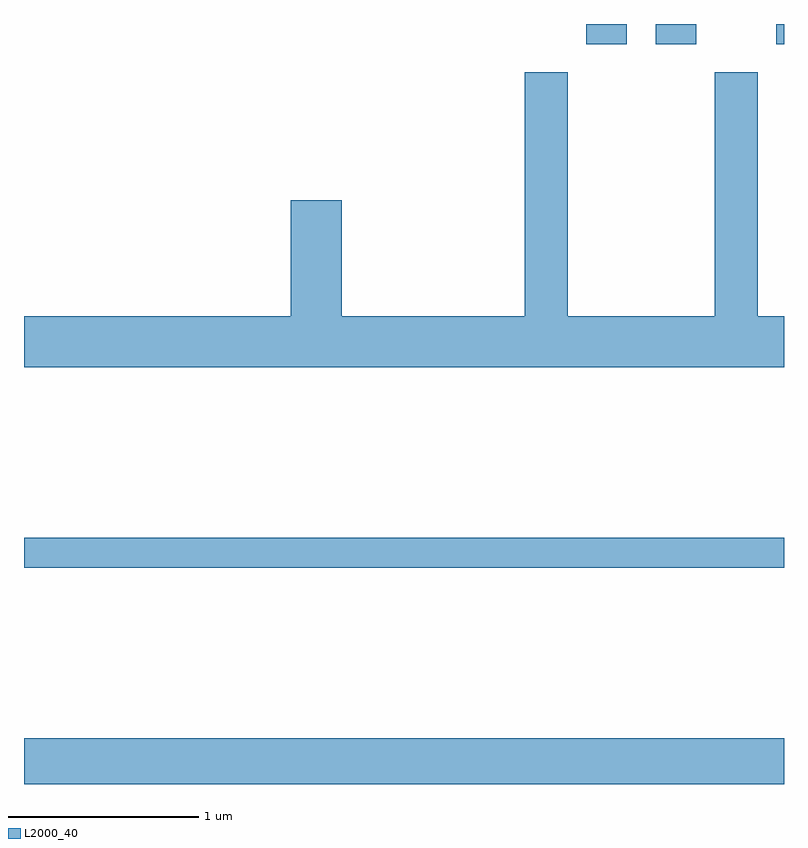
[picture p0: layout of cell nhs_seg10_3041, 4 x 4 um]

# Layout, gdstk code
import gdstk
lib = gdstk.Library(unit=1e-6, precision=1e-09)
def R(c, l, rs):  # rectangles x0, y0, x1, y1
    for r in rs: c.add(gdstk.rectangle(r[:2], r[2:], *l))
def P(c, l, *ps):  # polygons
    for p in ps: c.add(gdstk.Polygon(p, *l))
L2000_40 = (2000, 40)

nhs_seg10_3041 = lib.new_cell('nhs_seg10_3041')
R(nhs_seg10_3041, L2000_40, [(273.611,2200.522,277.611,2200.764), (273.611,2201.661,277.611,2201.819), (276.571,2204.416,276.784,2204.522), (276.936,2204.416,277.149,2204.522), (277.571,2204.416,277.611,2204.522)])
P(nhs_seg10_3041, L2000_40, [(277.611,2202.984),(277.474,2202.984),(277.474,2204.269),(277.246,2204.269),(277.246,2202.984),(276.474,2202.984),(276.474,2204.269),(276.246,2204.269),(276.246,2202.984),(275.284,2202.984),(275.284,2203.594),(275.016,2203.594),(275.016,2202.984),(273.611,2202.984),(273.611,2202.716),(277.611,2202.716)])

lib.write_gds('nhs_seg10_3041.gds')
